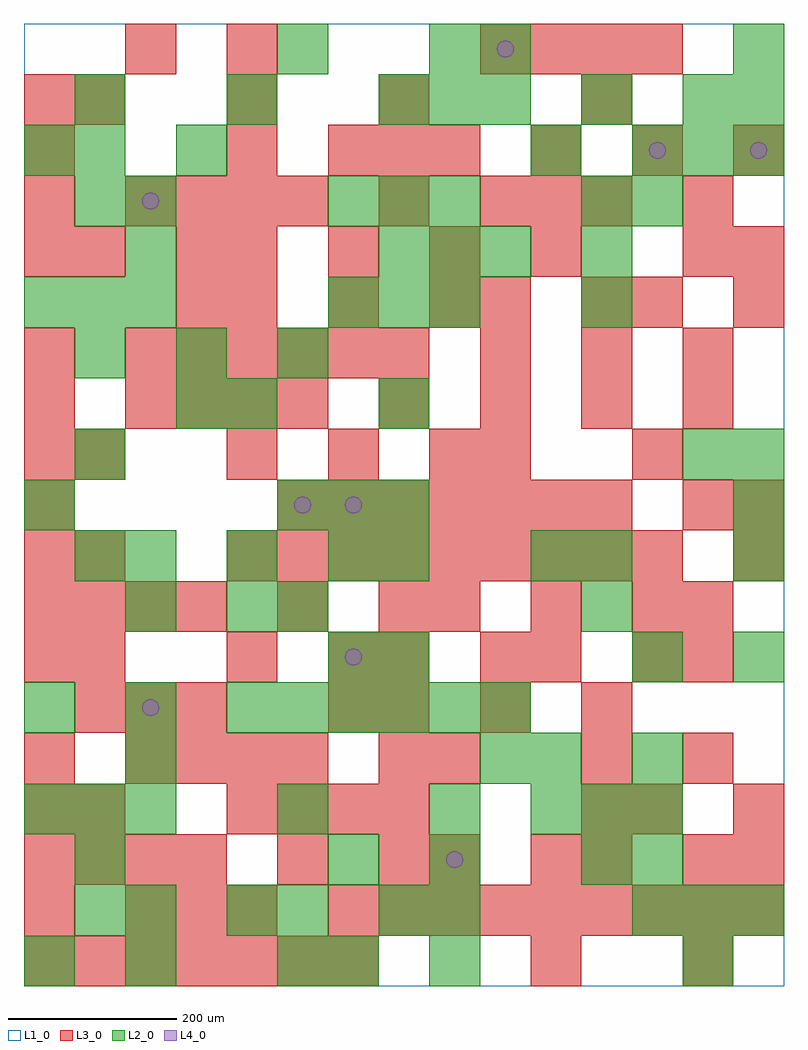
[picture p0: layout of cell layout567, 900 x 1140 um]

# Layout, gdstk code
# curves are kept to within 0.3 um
import gdstk
lib = gdstk.Library(unit=1e-6, precision=1e-09)
def R(c, l, rs):  # rectangles x0, y0, x1, y1
    for r in rs: c.add(gdstk.rectangle(r[:2], r[2:], *l))
def A(c, l, x, y, w, h, nx, ny, dx, dy):  # array of equal rectangles
    R(c, l, [(x+i*dx, y+j*dy, x+i*dx+w, y+j*dy+h) for i in range(nx) for j in range(ny)])
def P(c, l, *ps):  # polygons
    for p in ps: c.add(gdstk.Polygon(p, *l))
L1_0 = (1, 0)
L2_0 = (2, 0)
L3_0 = (3, 0)
L4_0 = (4, 0)

layout567 = lib.new_cell('layout567')
R(layout567, L1_0, [(0,0,900,1140)])
A(layout567, L2_0, 480, 0, 60, 60, 1, 4, 0, 60)
A(layout567, L2_0, 120, 60, 60, 60, 1, 3, 0, 180)
A(layout567, L2_0, 720, 60, 60, 60, 3, 2, 60, 900)
A(layout567, L2_0, 720, 120, 60, 60, 1, 3, 0, 120)
A(layout567, L2_0, 0, 180, 60, 60, 3, 2, 60, 600)
A(layout567, L2_0, 600, 180, 60, 60, 3, 1, 60, 0)
A(layout567, L2_0, 0, 300, 60, 60, 3, 1, 120, 0)
A(layout567, L2_0, 300, 300, 60, 60, 5, 1, 60, 0)
A(layout567, L2_0, 120, 480, 60, 60, 3, 1, 120, 0)
A(layout567, L2_0, 840, 480, 60, 60, 1, 3, 0, 60)
A(layout567, L2_0, 300, 540, 60, 60, 3, 1, 60, 0)
A(layout567, L2_0, 60, 720, 60, 60, 3, 1, 120, 0)
A(layout567, L2_0, 360, 780, 60, 60, 3, 2, 60, 120)
A(layout567, L2_0, 660, 780, 60, 60, 1, 3, 0, 60)
A(layout567, L2_0, 420, 840, 60, 60, 3, 1, 60, 0)
A(layout567, L2_0, 60, 1020, 60, 60, 3, 1, 180, 0)
A(layout567, L2_0, 540, 1020, 60, 60, 3, 1, 120, 0)
R(layout567, L2_0, [(0,0,60,60), (120,0,180,60), (300,0,360,60), (360,0,420,60), (780,0,840,60), (60,60,120,120), (240,60,300,120), (300,60,360,120), (420,60,480,120), (60,120,120,180), (360,120,420,180), (660,120,720,180), (300,180,360,240), (540,240,600,300), (600,240,660,300), (360,360,420,420), (420,360,480,420), (840,360,900,420), (240,420,300,480), (300,420,360,480), (660,420,720,480), (60,480,120,540), (420,480,480,540), (600,480,660,540), (660,480,720,540), (0,540,60,600), (60,600,120,660), (780,600,840,660), (180,660,240,720), (240,660,300,720), (420,660,480,720), (120,840,180,900), (60,900,120,960), (120,900,180,960), (720,900,780,960), (0,960,60,1020), (60,960,120,1020), (180,960,240,1020), (600,960,660,1020), (480,1020,540,1080), (840,1020,900,1080), (300,1080,360,1140), (480,1080,540,1140), (540,1080,600,1140), (840,1080,900,1140)])
A(layout567, L3_0, 0, 0, 60, 60, 7, 1, 60, 0)
A(layout567, L3_0, 780, 0, 60, 60, 1, 4, 0, 120)
A(layout567, L3_0, 120, 60, 60, 60, 3, 1, 60, 0)
A(layout567, L3_0, 360, 60, 60, 60, 9, 1, 60, 0)
A(layout567, L3_0, 0, 120, 60, 60, 4, 2, 60, 300)
A(layout567, L3_0, 420, 120, 60, 60, 1, 3, 0, 120)
A(layout567, L3_0, 660, 120, 60, 60, 1, 3, 0, 60)
A(layout567, L3_0, 240, 180, 60, 60, 4, 1, 60, 0)
A(layout567, L3_0, 0, 240, 60, 60, 1, 3, 0, 120)
A(layout567, L3_0, 120, 240, 60, 60, 4, 2, 60, 420)
A(layout567, L3_0, 60, 300, 60, 60, 3, 1, 60, 0)
A(layout567, L3_0, 420, 300, 60, 60, 3, 1, 120, 0)
A(layout567, L3_0, 60, 360, 60, 60, 1, 3, 0, 120)
A(layout567, L3_0, 480, 420, 60, 60, 3, 1, 120, 0)
A(layout567, L3_0, 240, 480, 60, 60, 9, 1, 60, 0)
A(layout567, L3_0, 0, 540, 60, 60, 1, 4, 0, 60)
A(layout567, L3_0, 300, 540, 60, 60, 7, 1, 60, 0)
A(layout567, L3_0, 240, 600, 60, 60, 3, 2, 120, 180)
A(layout567, L3_0, 420, 660, 60, 60, 4, 1, 120, 0)
A(layout567, L3_0, 120, 720, 60, 60, 6, 1, 60, 0)
A(layout567, L3_0, 540, 720, 60, 60, 3, 1, 120, 0)
A(layout567, L3_0, 0, 840, 60, 60, 1, 4, 0, 60)
A(layout567, L3_0, 240, 840, 60, 60, 4, 1, 120, 0)
A(layout567, L3_0, 120, 900, 60, 60, 4, 1, 60, 0)
A(layout567, L3_0, 540, 900, 60, 60, 3, 1, 60, 0)
A(layout567, L3_0, 360, 960, 60, 60, 3, 1, 60, 0)
A(layout567, L3_0, 600, 960, 60, 60, 3, 1, 120, 0)
A(layout567, L3_0, 60, 1020, 60, 60, 3, 1, 180, 0)
A(layout567, L3_0, 540, 1080, 60, 60, 4, 1, 60, 0)
R(layout567, L3_0, [(600,0,660,60), (0,60,60,120), (300,120,360,180), (480,120,540,180), (600,120,660,180), (840,120,900,180), (0,180,60,240), (60,180,120,240), (720,180,780,240), (840,180,900,240), (480,240,540,300), (360,300,420,360), (240,360,300,420), (360,360,420,420), (540,360,600,420), (600,360,660,420), (720,360,780,420), (300,420,360,480), (420,420,480,480), (780,420,840,480), (840,480,900,540), (780,540,840,600), (840,540,900,600), (540,600,600,660), (720,600,780,660), (180,780,240,840), (540,780,600,840), (660,780,720,840), (720,780,780,840), (840,780,900,840), (60,840,120,900), (180,840,240,900), (780,840,840,900), (840,840,900,900), (420,900,480,960), (780,900,840,960), (240,960,300,1020), (660,1020,720,1080), (120,1080,180,1140), (240,1080,300,1140)])
P(layout567, L4_0, [(160,330),(159.239,333.827),(157.071,337.071),(153.827,339.239),(150,340),(146.173,339.239),(142.929,337.071),(140.761,333.827),(140,330),(140.761,326.173),(142.929,322.929),(146.173,320.761),(150,320),(153.827,320.761),(157.071,322.929),(159.239,326.173)],
  [(160,930),(159.239,933.827),(157.071,937.071),(153.827,939.239),(150,940),(146.173,939.239),(142.929,937.071),(140.761,933.827),(140,930),(140.761,926.173),(142.929,922.929),(146.173,920.761),(150,920),(153.827,920.761),(157.071,922.929),(159.239,926.173)],
  [(340,570),(339.239,573.827),(337.071,577.071),(333.827,579.239),(330,580),(326.173,579.239),(322.929,577.071),(320.761,573.827),(320,570),(320.761,566.173),(322.929,562.929),(326.173,560.761),(330,560),(333.827,560.761),(337.071,562.929),(339.239,566.173)],
  [(400,390),(399.239,393.827),(397.071,397.071),(393.827,399.239),(390,400),(386.173,399.239),(382.929,397.071),(380.761,393.827),(380,390),(380.761,386.173),(382.929,382.929),(386.173,380.761),(390,380),(393.827,380.761),(397.071,382.929),(399.239,386.173)],
  [(400,570),(399.239,573.827),(397.071,577.071),(393.827,579.239),(390,580),(386.173,579.239),(382.929,577.071),(380.761,573.827),(380,570),(380.761,566.173),(382.929,562.929),(386.173,560.761),(390,560),(393.827,560.761),(397.071,562.929),(399.239,566.173)],
  [(520,150),(519.239,153.827),(517.071,157.071),(513.827,159.239),(510,160),(506.173,159.239),(502.929,157.071),(500.761,153.827),(500,150),(500.761,146.173),(502.929,142.929),(506.173,140.761),(510,140),(513.827,140.761),(517.071,142.929),(519.239,146.173)],
  [(580,1110),(579.239,1113.827),(577.071,1117.071),(573.827,1119.239),(570,1120),(566.173,1119.239),(562.929,1117.071),(560.761,1113.827),(560,1110),(560.761,1106.173),(562.929,1102.929),(566.173,1100.761),(570,1100),(573.827,1100.761),(577.071,1102.929),(579.239,1106.173)],
  [(760,990),(759.239,993.827),(757.071,997.071),(753.827,999.239),(750,1000),(746.173,999.239),(742.929,997.071),(740.761,993.827),(740,990),(740.761,986.173),(742.929,982.929),(746.173,980.761),(750,980),(753.827,980.761),(757.071,982.929),(759.239,986.173)],
  [(880,990),(879.239,993.827),(877.071,997.071),(873.827,999.239),(870,1000),(866.173,999.239),(862.929,997.071),(860.761,993.827),(860,990),(860.761,986.173),(862.929,982.929),(866.173,980.761),(870,980),(873.827,980.761),(877.071,982.929),(879.239,986.173)])

lib.write_gds('layout567.gds')
